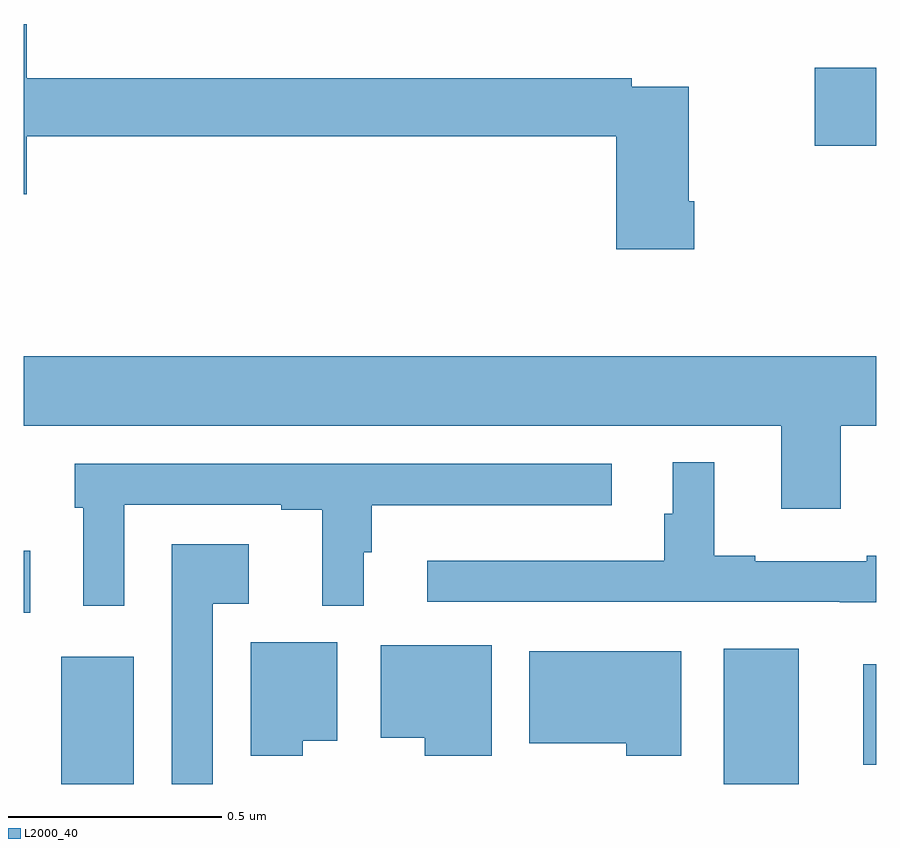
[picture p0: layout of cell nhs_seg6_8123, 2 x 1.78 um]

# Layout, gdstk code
import gdstk
lib = gdstk.Library(unit=1e-6, precision=1e-09)
def R(c, l, rs):  # rectangles x0, y0, x1, y1
    for r in rs: c.add(gdstk.rectangle(r[:2], r[2:], *l))
def P(c, l, *ps):  # polygons
    for p in ps: c.add(gdstk.Polygon(p, *l))
L2000_40 = (2000, 40)

nhs_seg6_8123 = lib.new_cell('nhs_seg6_8123')
R(nhs_seg6_8123, L2000_40, [(217.088,942.5,217.258,942.799), (218.642,942.5,218.818,942.817), (218.969,942.545,219,942.781), (217,942.902,217.015,943.047), (218.856,943.997,219,944.18)])
P(nhs_seg6_8123, L2000_40, [(218.573,943.867),(218.56,943.867),(218.56,944.136),(218.426,944.136),(218.426,944.156),(217.007,944.156),(217.007,944.283),(217,944.283),(217,943.884),(217.007,943.884),(217.007,944.02),(218.39,944.02),(218.39,943.755),(218.573,943.755)],
  [(218.917,943.34),(219,943.34),(219,943.504),(217,943.504),(217,943.34),(218.777,943.34),(218.777,943.146),(218.917,943.146)],
  [(219,943.036),(218.978,943.036),(218.978,943.023),(218.716,943.023),(218.716,943.036),(218.62,943.036),(218.62,943.255),(218.522,943.255),(218.522,943.134),(218.503,943.134),(218.503,943.024),(217.947,943.024),(217.947,942.927),(218.914,942.927),(218.914,942.926),(219,942.926)],
  [(217.236,943.155),(217.604,943.155),(217.604,943.143),(217.7,943.143),(217.7,942.918),(217.798,942.918),(217.798,943.044),(217.817,943.044),(217.817,943.154),(218.38,943.154),(218.38,943.251),(217.12,943.251),(217.12,943.148),(217.14,943.148),(217.14,942.918),(217.236,942.918)],
  [(217.443,942.923),(217.528,942.923),(217.528,943.063),(217.347,943.063),(217.347,942.5),(217.443,942.5)],
  [(217.654,942.602),(217.735,942.602),(217.735,942.832),(217.532,942.832),(217.532,942.566),(217.654,942.566)],
  [(218.098,942.826),(217.838,942.826),(217.838,942.608),(217.941,942.608),(217.941,942.566),(218.098,942.566)],
  [(218.542,942.811),(218.186,942.811),(218.186,942.596),(218.413,942.596),(218.413,942.566),(218.542,942.566)])

lib.write_gds('nhs_seg6_8123.gds')
